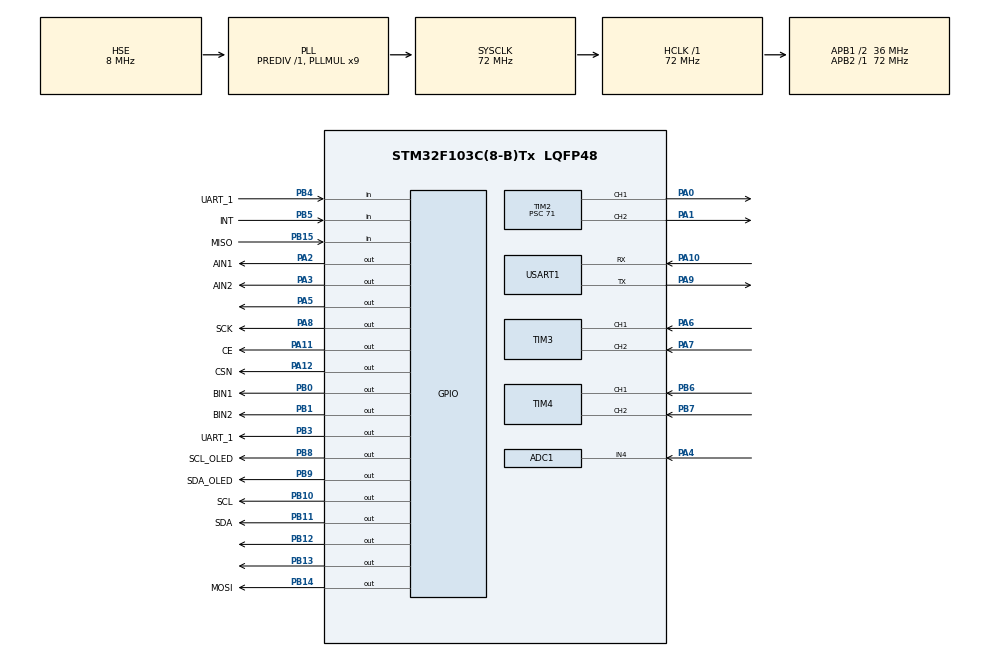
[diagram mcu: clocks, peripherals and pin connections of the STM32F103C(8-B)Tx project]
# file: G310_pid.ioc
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ADC1.Channel-0\#ChannelRegularConversion=ADC_CHANNEL_4
ADC1.NbrOfConversion=1
ADC1.NbrOfConversionFlag=1
ADC1.Rank-0\#ChannelRegularConversion=1
ADC1.SamplingTime-0\#ChannelRegularConversion=ADC_SAMPLETIME_28CYCLES_5
ADC1.master=1
Mcu.Family=STM32F1
Mcu.Name=STM32F103C(8-B)Tx
Mcu.Package=LQFP48
NVIC.PriorityGroup=NVIC_PRIORITYGROUP_4
NVIC.TIM1_UP_IRQn=true\:0\:0\:false\:false\:true\:true\:true\:true
NVIC.USART1_IRQn=true\:0\:0\:false\:false\:true\:true\:true\:true
PA0-WKUP.Signal=S_TIM2_CH1_ETR
PA1.Signal=S_TIM2_CH2
PA10.Mode=Asynchronous
PA10.Signal=USART1_RX
PA11.GPIO_Label=CE
PA11.GPIO_Speed=GPIO_SPEED_FREQ_HIGH
PA11.Signal=GPIO_Output
PA12.GPIO_Label=CSN
PA12.GPIO_Speed=GPIO_SPEED_FREQ_HIGH
PA12.Signal=GPIO_Output
PA13.Mode=Serial_Wire
PA13.Signal=SYS_JTMS-SWDIO
PA14.Mode=Serial_Wire
PA14.Signal=SYS_JTCK-SWCLK
PA2.GPIO_Label=AIN1
PA2.Signal=GPIO_Output
PA3.GPIO_Label=AIN2
PA3.Signal=GPIO_Output
PA4.Signal=ADCx_IN4
PA5.GPIO_Speed=GPIO_SPEED_FREQ_HIGH
PA5.Signal=GPIO_Output
PA6.GPIO_PuPd=GPIO_PULLUP
PA6.Signal=S_TIM3_CH1
PA7.GPIO_PuPd=GPIO_PULLUP
PA7.Signal=S_TIM3_CH2
PA8.GPIO_Label=SCK
PA8.GPIO_Speed=GPIO_SPEED_FREQ_HIGH
PA8.Signal=GPIO_Output
PA9.Mode=Asynchronous
PA9.Signal=USART1_TX
PB0.GPIO_Label=BIN1
PB0.Signal=GPIO_Output
PB1.GPIO_Label=BIN2
PB1.Signal=GPIO_Output
PB10.GPIO_Label=SCL
PB10.GPIO_PuPd=GPIO_PULLUP
PB10.GPIO_Speed=GPIO_SPEED_FREQ_HIGH
PB10.Signal=GPIO_Output
PB11.GPIO_Label=SDA
PB11.GPIO_ModeDefaultOutputPP=GPIO_MODE_OUTPUT_OD
PB11.GPIO_PuPd=GPIO_PULLUP
PB11.Signal=GPIO_Output
PB12.GPIO_Speed=GPIO_SPEED_FREQ_HIGH
PB12.Signal=GPIO_Output
PB13.GPIO_Speed=GPIO_SPEED_FREQ_HIGH
PB13.Signal=GPIO_Output
PB14.GPIO_Label=MOSI
PB14.GPIO_Speed=GPIO_SPEED_FREQ_HIGH
PB14.Signal=GPIO_Output
PB15.GPIO_Label=MISO
PB15.GPIO_PuPd=GPIO_PULLUP
PB15.Signal=GPIO_Input
PB3.GPIO_Label=UART_1
PB3.GPIO_PuPd=GPIO_PULLUP
PB3.GPIO_Speed=GPIO_SPEED_FREQ_HIGH
PB3.Signal=GPIO_Output
PB4.GPIO_Label=UART_1
PB4.GPIO_PuPd=GPIO_PULLUP
PB4.Signal=GPIO_Input
PB5.GPIO_Label=INT
PB5.Signal=GPIO_Input
PB6.GPIO_PuPd=GPIO_PULLUP
PB6.Signal=S_TIM4_CH1
PB7.GPIO_PuPd=GPIO_PULLUP
PB7.Signal=S_TIM4_CH2
PB8.GPIO_Label=SCL_OLED
PB8.GPIO_ModeDefaultOutputPP=GPIO_MODE_OUTPUT_OD
PB8.GPIO_PuPd=GPIO_NOPULL
PB8.GPIO_Speed=GPIO_SPEED_FREQ_HIGH
PB8.PinState=GPIO_PIN_SET
PB8.Signal=GPIO_Output
PB9.GPIO_Label=SDA_OLED
PB9.GPIO_ModeDefaultOutputPP=GPIO_MODE_OUTPUT_OD
PB9.GPIO_PuPd=GPIO_NOPULL
PB9.GPIO_Speed=GPIO_SPEED_FREQ_HIGH
PB9.PinState=GPIO_PIN_SET
PB9.Signal=GPIO_Output
PD0-OSC_IN.Mode=HSE-External-Oscillator
PD0-OSC_IN.Signal=RCC_OSC_IN
PD1-OSC_OUT.Mode=HSE-External-Oscillator
PD1-OSC_OUT.Signal=RCC_OSC_OUT
ProjectManager.HeapSize=0x200
ProjectManager.StackSize=0x400
ProjectManager.TargetToolchain=MDK-ARM V5.32
RCC.AHBFreq_Value=72000000
RCC.APB1CLKDivider=RCC_HCLK_DIV2
RCC.APB1Freq_Value=36000000
RCC.APB1TimFreq_Value=72000000
RCC.APB2Freq_Value=72000000
RCC.APB2TimFreq_Value=72000000
RCC.HCLKFreq_Value=72000000
RCC.PLLMUL=RCC_PLL_MUL9
RCC.PLLSourceVirtual=RCC_PLLSOURCE_HSE
RCC.SYSCLKFreq_VALUE=72000000
RCC.SYSCLKSource=RCC_SYSCLKSOURCE_PLLCLK
RCC.USBFreq_Value=72000000
SH.ADCx_IN4.0=ADC1_IN4,IN4
SH.S_TIM2_CH1_ETR.0=TIM2_CH1,PWM Generation1 CH1
SH.S_TIM2_CH2.0=TIM2_CH2,PWM Generation2 CH2
SH.S_TIM3_CH1.0=TIM3_CH1,Encoder_Interface
SH.S_TIM3_CH2.0=TIM3_CH2,Encoder_Interface
SH.S_TIM4_CH1.0=TIM4_CH1,Encoder_Interface
SH.S_TIM4_CH2.0=TIM4_CH2,Encoder_Interface
TIM1.Period=99
TIM1.Prescaler=7199
TIM2.Channel-PWM\ Generation1\ CH1=TIM_CHANNEL_1
TIM2.Channel-PWM\ Generation2\ CH2=TIM_CHANNEL_2
TIM2.Period=999
TIM2.Prescaler=71
TIM3.EncoderMode=TIM_ENCODERMODE_TI1
TIM3.IC1Filter=10
TIM4.EncoderMode=TIM_ENCODERMODE_TI1
TIM4.IC1Filter=10
USART1.VirtualMode=VM_ASYNC
VP_TIM1_VS_ClockSourceINT.Mode=Internal
board=custom

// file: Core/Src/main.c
/* USER CODE BEGIN Header */
/**
  ******************************************************************************
  * @file           : main.c
  * @brief          : Main program body
  ******************************************************************************
  * @attention
  *
  * Copyright (c) 2026 STMicroelectronics.
  * All rights reserved.
  *
  * This software is licensed under terms that can be found in the LICENSE file
  * in the root directory of this software component.
  * If no LICENSE file comes with this software, it is provided AS-IS.
  *
  ******************************************************************************
  */
/* USER CODE END Header */
#include "main.h"

/* USER CODE BEGIN Includes */
#include <stdio.h>
#include <stdlib.h>
#include "mpu6500.h"
#include "I2C.h"
#include "adc.h"
#include "OLED.h"
#include "NRF24L01.h"
/* USER CODE END Includes */

/* USER CODE BEGIN PM */
#define CROSS_STRAIGHT_TARGET_SPEED 20
#define CROSS_DETECT_ACTIVE_N       6U
#define CROSS_DETECT_CONFIRM_N      2U
#define CORNER_EXIT_CROSS_ACTIVE_N  4U
#define CORNER_EXIT_CROSS_CONFIRM_N 1U
#define CROSS_ARM_AFTER_CORNER_MM    100U
#define ROUTE_EXPECT_CORNER          0U
#define ROUTE_EXPECT_CROSS_FIRST     1U
#define ROUTE_EXPECT_CROSS_SECOND    2U
#define CROSS_EXIT_CONFIRM_N        3U
#define CROSS_MIN_TRAVEL_MM         30U
#define CROSS_MAX_TRAVEL_MM         120U
#define CROSS_MIN_TRAVEL_TICKS \
    ((CROSS_MIN_TRAVEL_MM * 530634U + 141372U / 2U) / 141372U)
#define CROSS_MAX_TRAVEL_TICKS \
    ((CROSS_MAX_TRAVEL_MM * 530634U + 141372U / 2U) / 141372U)
#define CROSS_ARM_AFTER_CORNER_TICKS \
    ((CROSS_ARM_AFTER_CORNER_MM * 530634U + 141372U / 2U) / 141372U)
#define CORNER_EXIT_ADVANCE_MM       400U
#define CORNER_EXIT_TARGET_SPEED     15
#define CORNER_WAIT_TIMEOUT_MS       8000U
#define CORNER_EXIT_ADVANCE_TICKS \
    ((CORNER_EXIT_ADVANCE_MM * 530634U + 141372U / 2U) / 141372U)
/* USER CODE END PM */

ADC_HandleTypeDef hadc1;

TIM_HandleTypeDef htim1;
TIM_HandleTypeDef htim2;
TIM_HandleTypeDef htim3;
TIM_HandleTypeDef htim4;

UART_HandleTypeDef huart1;

/* USER CODE BEGIN PV */
uint8_t LineFlag = 0;
int16_t debug_pos = 0;       // 用于显示的偏差值
volatile int16_t Target_speed[2] = {0}; // 用于显示的速度值
volatile int16_t last_speedL = 0;
volatile int16_t last_speedR = 0;
int16_t left_speed = 0;
int16_t right_speed = 0;

volatile float g_yaw = 0.0f;
volatile int16_t g_left = 0;
volatile int16_t g_right = 0;
volatile int16_t g_motor_cmd_left = 0;
volatile int16_t g_motor_cmd_right = 0;
volatile uint32_t g_path_ticks = 0U;
volatile uint8_t g_path_half_tick = 0U;
volatile uint8_t g_nrf_ready = 0;
volatile uint8_t g_nrf_tx_ok = 0;
volatile uint8_t g_turning = 0;
int16_t g_l_val = 0;
int16_t g_r_val = 0;
char buf[64];
volatile uint8_t line_detect_count = 0;
volatile float g_target_yaw = 0.0f;
volatile uint16_t lost_line_confirm = 0;
extern MPU6500_Data mpu_data;
typedef enum {
    STATE_TRACKING,   // 循迹
    STATE_STRAIGHT    // 直线
} RobotState;

RobotState state = STATE_STRAIGHT ;

/* 转弯状态机 */
volatile uint8_t  step = 1;
volatile uint8_t  corner_det = 0;
volatile uint16_t turn_ticks = 0;
volatile uint8_t  turn_lost_line = 0;
volatile uint32_t corner_lock = 0;
volatile uint8_t  corner_dir = 0;    // 0=左转 1=右转
volatile uint8_t  cross_active = 0U;
volatile uint8_t  special_route_phase = ROUTE_EXPECT_CORNER;
volatile uint8_t  cross_detect_count = 0U;
volatile uint8_t  cross_exit_count = 0U;
volatile uint32_t cross_start_path_ticks = 0U;
volatile uint32_t cross_last_exit_path_ticks = 0U;
volatile uint8_t  corner_id = 0U;
volatile uint32_t corner_exit_start_ticks = 0U;
volatile uint32_t corner_wait_start_ms = 0U;
volatile uint8_t  g_rear_ack_valid = 0U;
volatile uint8_t  g_rear_ack_corner_id = 0U;
volatile uint8_t  g_rear_ack_state = NRF24L01_REAR_STATE_NORMAL;
/* USER CODE END PV */

void SystemClock_Config(void);
static void MX_GPIO_Init(void);
static void MX_TIM2_Init(void);
static void MX_USART1_UART_Init(void);
static void MX_TIM3_Init(void);
static void MX_TIM4_Init(void);
static void MX_TIM1_Init(void);
static void MX_ADC1_Init(void);
/* USER CODE BEGIN PFP */
#include<motor.h>
#include"pid.h"
/* USER CODE END PFP */

/* USER CODE BEGIN 0 */

int16_t Get_Encoder_Speed(TIM_HandleTypeDef *htim) {
    int16_t count = (int16_t)__HAL_TIM_GET_COUNTER(htim);
    __HAL_TIM_SET_COUNTER(htim, 0); // 读取后清零，得到这 10ms 内的增量
    return count;
}

/* USER CODE END 0 */

int main(void)
{

  /* USER CODE BEGIN 1 */
	int16_t Target_Speed[2] = {0, 0};
  /* USER CODE END 1 */

  /* MCU Configuration--------------------------------------------------------*/

  /* Reset of all peripherals, Initializes the Flash interface and the Systick. */
  HAL_Init();

  /* Configure the system clock */
  SystemClock_Config();

  /* USER CODE BEGIN SysInit */
  ADC_Init();
  /* USER CODE END SysInit */

  /* Initialize all configured peripherals */
  MX_GPIO_Init();
  MX_TIM2_Init();
  MX_USART1_UART_Init();
  MX_TIM3_Init();
  MX_TIM4_Init();
  MX_TIM1_Init();
  MX_ADC1_Init();
  /* USER CODE BEGIN 2 */
	//--------------初始化----------------
	Motor_Init();
	PID_Init();
	MPU6500_Init();
	MPU6500_CalibrateGyro();
	g_nrf_ready = NRF24L01_Init();
	//初始化软串口 (PB3=TX, PB4=RX)
	//开启编码器读取（硬件计数）
	HAL_TIM_Encoder_Start(&htim3,TIM_CHANNEL_ALL);
  HAL_TIM_Encoder_Start(&htim4,TIM_CHANNEL_ALL);
	//开启控制定时器（关键：触发10ms中断）
	HAL_TIM_Base_Start_IT(&htim1);
        //初始化 OLED
        OLED_Init();
        OLED_Clear();
        OLED_ShowString(1, 1, "Tracking...");
  /* USER CODE END 2 */

  /* Infinite loop */
  /* USER CODE BEGIN WHILE */
	/* 在 main 函数的初始化部分 */
	Yaw_Reset();  // 当前方向设为0
	g_target_yaw = 0.0f;
	AnglePID_Enable();
	corner_lock = HAL_GetTick() + 500;  // 上电3秒内不检测直角
//
//	//--- 发送数据 ---
  while (1)
  {
    /* USER CODE END WHILE */

    /* USER CODE BEGIN 3 */
    // OLED 显示 8 路 + 总和（调试用）
    {
        char t[18];
        uint32_t distance_mm = (uint32_t)((((uint64_t)g_path_ticks * 141372U) +
                                           265317U) / 530634U);
        int32_t yaw_x10 = (int32_t)(Yaw_GetAngle() * 10.0f);
        uint32_t yaw_abs_x10 = (yaw_x10 < 0) ?
                               (uint32_t)(-yaw_x10) : (uint32_t)yaw_x10;
        sprintf(t, "L%4d%4d%4d%4d", adc_values[0], adc_values[1], adc_values[2], adc_values[3]);
        OLED_ShowString(3, 1, t);
        OLED_ShowString(4, 1, "                ");
        OLED_ShowString(4, 1, "D");
        OLED_ShowNum(4, 2, (distance_mm + 5U) / 10U, 4);
        OLED_ShowString(4, 6, "Y");
        OLED_ShowString(4, 7, (yaw_x10 < 0) ? "-" : "+");
        OLED_ShowNum(4, 8, yaw_abs_x10 / 10U, 3);
        OLED_ShowString(4, 11, ".");
        OLED_ShowNum(4, 12, yaw_abs_x10 % 10U, 1);
    }
    {
        static uint32_t last_nrf_retry = 0U;
        static uint32_t last_nrf_send = 0U;
        uint32_t now = HAL_GetTick();
        int16_t left = g_motor_cmd_left;
        int16_t right = g_motor_cmd_right;
        int16_t speed = (int16_t)(((int32_t)left + right) / 2);
        int16_t turn = (int16_t)(((int32_t)right - left) / 2);
        int16_t yaw_x10 = (int16_t)(Yaw_GetAngle() * 10.0f);
        uint8_t flags = 0U;
        char radio_text[18];

        if (step == 2U) flags = FRONT_CAR_FLAG_CORNER_APPROACH;
        else if (step == 3U) flags = FRONT_CAR_FLAG_RIGHT_ANGLE;
        else if (step == 4U) flags = FRONT_CAR_FLAG_CORNER_EXIT;
        else if (step == 5U) flags = FRONT_CAR_FLAG_WAIT_REAR;
        if ((step >= 2U) && (step <= 5U))
        {
            flags |= (uint8_t)((corner_id << FRONT_CAR_CORNER_ID_SHIFT) &
                               FRONT_CAR_CORNER_ID_MASK);
        }

        sprintf(radio_text, "V:%4d T:%4d", speed, turn);
        OLED_ShowString(1, 1, radio_text);

        if (g_nrf_ready)
        {
            if ((uint32_t)(now - last_nrf_send) >= 20U)
            {
                last_nrf_send = now;
                NRF24L01_RearAck rear_ack;
                g_nrf_tx_ok = (NRF24L01_SendCarData(speed, turn, yaw_x10,
                                                    g_path_ticks, flags) ==
                                   NRF24L01_TX_OK);
                if ((g_nrf_tx_ok != 0U) &&
                    (NRF24L01_GetRearAck(&rear_ack, 300U) != 0U))
                {
                    g_rear_ack_valid = 1U;
                    g_rear_ack_corner_id = rear_ack.corner_id;
                    g_rear_ack_state = rear_ack.rear_state;
                }
            }
            OLED_ShowString(2, 1, g_nrf_tx_ok ? "RF:OK Q:   " : "RF:ERR Q:  ");
            OLED_ShowNum(2, 9, NRF24L01_LastSequence(), 3);
        }
        else
        {
            if ((uint32_t)(now - last_nrf_retry) >= 500U)
            {
                last_nrf_retry = now;
                g_nrf_ready = NRF24L01_Init();
            }

            OLED_ShowString(2, 1, "RF:E C:  S:  ");
            OLED_ShowHexNum(2, 8, NRF24L01_ReadRegister(0x05U), 2);
            OLED_ShowHexNum(2, 13, NRF24L01_ReadRegister(0x07U), 2);
        }
    }
    // 转弯完成检测
    if (step == 3)
    {
        if (!line_detected && turn_ticks > 10)
            turn_lost_line = 1;
        if (turn_lost_line && line_detected && turn_ticks > 15)
        {
            line_detect_count++;
            if (line_detect_count > 2)
            {
                line_detect_count = 0;
                AnglePID_Disable();
                Tracking_Reset();
                corner_lock = HAL_GetTick() + CORNER_LOCK_MS;
                PID_SpeedL.integral = 0; PID_SpeedR.integral = 0;
                OLED_Clear();
                corner_exit_start_ticks = g_path_ticks;
                special_route_phase = ROUTE_EXPECT_CROSS_FIRST;
                OLED_ShowString(1, 1, "Corner exit");
                step = 4;
            }
        }
        else line_detect_count = 0;
    }
    HAL_Delay(20);
  /* USER CODE END 3 */
}
}

void SystemClock_Config(void)
{
  RCC_OscInitTypeDef RCC_OscInitStruct = {0};
  RCC_ClkInitTypeDef RCC_ClkInitStruct = {0};
  RCC_PeriphCLKInitTypeDef PeriphClkInit = {0};

  /** Initializes the RCC Oscillators according to the specified parameters
  * in the RCC_OscInitTypeDef structure.
  */
  RCC_OscInitStruct.OscillatorType = RCC_OSCILLATORTYPE_HSE;
  RCC_OscInitStruct.HSEState = RCC_HSE_ON;
  RCC_OscInitStruct.HSEPredivValue = RCC_HSE_PREDIV_DIV1;
  RCC_OscInitStruct.HSIState = RCC_HSI_ON;
  RCC_OscInitStruct.PLL.PLLState = RCC_PLL_ON;
  RCC_OscInitStruct.PLL.PLLSource = RCC_PLLSOURCE_HSE;
  RCC_OscInitStruct.PLL.PLLMUL = RCC_PLL_MUL9;
  if (HAL_RCC_OscConfig(&RCC_OscInitStruct) != HAL_OK)
  {
    Error_Handler();
  }

  /** Initializes the CPU, AHB and APB buses clocks
  */
  RCC_ClkInitStruct.ClockType = RCC_CLOCKTYPE_HCLK|RCC_CLOCKTYPE_SYSCLK
                              |RCC_CLOCKTYPE_PCLK1|RCC_CLOCKTYPE_PCLK2;
  RCC_ClkInitStruct.SYSCLKSource = RCC_SYSCLKSOURCE_PLLCLK;
  RCC_ClkInitStruct.AHBCLKDivider = RCC_SYSCLK_DIV1;
  RCC_ClkInitStruct.APB1CLKDivider = RCC_HCLK_DIV2;
  RCC_ClkInitStruct.APB2CLKDivider = RCC_HCLK_DIV1;

  if (HAL_RCC_ClockConfig(&RCC_ClkInitStruct, FLASH_LATENCY_2) != HAL_OK)
  {
    Error_Handler();
  }
  PeriphClkInit.PeriphClockSelection = RCC_PERIPHCLK_ADC;
  PeriphClkInit.AdcClockSelection = RCC_ADCPCLK2_DIV2;
  if (HAL_RCCEx_PeriphCLKConfig(&PeriphClkInit) != HAL_OK)
  {
    Error_Handler();
  }

}
static void MX_ADC1_Init(void)
{

  ADC_ChannelConfTypeDef sConfig = {0};

  /** Common config
  */
  hadc1.Instance = ADC1;
  hadc1.Init.ScanConvMode = ADC_SCAN_DISABLE;
  hadc1.Init.ContinuousConvMode = DISABLE;
  hadc1.Init.DiscontinuousConvMode = DISABLE;
  hadc1.Init.ExternalTrigConv = ADC_SOFTWARE_START;
  hadc1.Init.DataAlign = ADC_DATAALIGN_RIGHT;
  hadc1.Init.NbrOfConversion = 1;
  if (HAL_ADC_Init(&hadc1) != HAL_OK)
  {
    Error_Handler();
  }

  /** Configure Regular Channel
  */
  sConfig.Channel = ADC_CHANNEL_4;
  sConfig.Rank = ADC_REGULAR_RANK_1;
  sConfig.SamplingTime = ADC_SAMPLETIME_28CYCLES_5;
  if (HAL_ADC_ConfigChannel(&hadc1, &sConfig) != HAL_OK)
  {
    Error_Handler();
  }

}

static void MX_TIM1_Init(void)
{

  TIM_ClockConfigTypeDef sClockSourceConfig = {0};
  TIM_MasterConfigTypeDef sMasterConfig = {0};

  htim1.Instance = TIM1;
  htim1.Init.Prescaler = 7199;
  htim1.Init.CounterMode = TIM_COUNTERMODE_UP;
  htim1.Init.Period = 99;
  htim1.Init.ClockDivision = TIM_CLOCKDIVISION_DIV1;
  htim1.Init.RepetitionCounter = 0;
  htim1.Init.AutoReloadPreload = TIM_AUTORELOAD_PRELOAD_DISABLE;
  if (HAL_TIM_Base_Init(&htim1) != HAL_OK)
  {
    Error_Handler();
  }
  sClockSourceConfig.ClockSource = TIM_CLOCKSOURCE_INTERNAL;
  if (HAL_TIM_ConfigClockSource(&htim1, &sClockSourceConfig) != HAL_OK)
  {
    Error_Handler();
  }
  sMasterConfig.MasterOutputTrigger = TIM_TRGO_RESET;
  sMasterConfig.MasterSlaveMode = TIM_MASTERSLAVEMODE_DISABLE;
  if (HAL_TIMEx_MasterConfigSynchronization(&htim1, &sMasterConfig) != HAL_OK)
  {
    Error_Handler();
  }

}

static void MX_TIM2_Init(void)
{

  TIM_MasterConfigTypeDef sMasterConfig = {0};
  TIM_OC_InitTypeDef sConfigOC = {0};

  htim2.Instance = TIM2;
  htim2.Init.Prescaler = 71;
  htim2.Init.CounterMode = TIM_COUNTERMODE_UP;
  htim2.Init.Period = 999;
  htim2.Init.ClockDivision = TIM_CLOCKDIVISION_DIV1;
  htim2.Init.AutoReloadPreload = TIM_AUTORELOAD_PRELOAD_DISABLE;
  if (HAL_TIM_PWM_Init(&htim2) != HAL_OK)
  {
    Error_Handler();
  }
  sMasterConfig.MasterOutputTrigger = TIM_TRGO_RESET;
  sMasterConfig.MasterSlaveMode = TIM_MASTERSLAVEMODE_DISABLE;
  if (HAL_TIMEx_MasterConfigSynchronization(&htim2, &sMasterConfig) != HAL_OK)
  {
    Error_Handler();
  }
  sConfigOC.OCMode = TIM_OCMODE_PWM1;
  sConfigOC.Pulse = 0;
  sConfigOC.OCPolarity = TIM_OCPOLARITY_HIGH;
  sConfigOC.OCFastMode = TIM_OCFAST_DISABLE;
  if (HAL_TIM_PWM_ConfigChannel(&htim2, &sConfigOC, TIM_CHANNEL_1) != HAL_OK)
  {
    Error_Handler();
  }
  if (HAL_TIM_PWM_ConfigChannel(&htim2, &sConfigOC, TIM_CHANNEL_2) != HAL_OK)
  {
    Error_Handler();
  }
  HAL_TIM_MspPostInit(&htim2);

}

static void MX_TIM3_Init(void)
{

  TIM_Encoder_InitTypeDef sConfig = {0};
  TIM_MasterConfigTypeDef sMasterConfig = {0};

  htim3.Instance = TIM3;
  htim3.Init.Prescaler = 0;
  htim3.Init.CounterMode = TIM_COUNTERMODE_UP;
  htim3.Init.Period = 65535;
  htim3.Init.ClockDivision = TIM_CLOCKDIVISION_DIV1;
  htim3.Init.AutoReloadPreload = TIM_AUTORELOAD_PRELOAD_DISABLE;
  sConfig.EncoderMode = TIM_ENCODERMODE_TI1;
  sConfig.IC1Polarity = TIM_ICPOLARITY_RISING;
  sConfig.IC1Selection = TIM_ICSELECTION_DIRECTTI;
  sConfig.IC1Prescaler = TIM_ICPSC_DIV1;
  sConfig.IC1Filter = 10;
  sConfig.IC2Polarity = TIM_ICPOLARITY_RISING;
  sConfig.IC2Selection = TIM_ICSELECTION_DIRECTTI;
  sConfig.IC2Prescaler = TIM_ICPSC_DIV1;
  sConfig.IC2Filter = 0;
  if (HAL_TIM_Encoder_Init(&htim3, &sConfig) != HAL_OK)
  {
    Error_Handler();
  }
  sMasterConfig.MasterOutputTrigger = TIM_TRGO_RESET;
  sMasterConfig.MasterSlaveMode = TIM_MASTERSLAVEMODE_DISABLE;
  if (HAL_TIMEx_MasterConfigSynchronization(&htim3, &sMasterConfig) != HAL_OK)
  {
    Error_Handler();
  }

}

static void MX_TIM4_Init(void)
{

  TIM_Encoder_InitTypeDef sConfig = {0};
  TIM_MasterConfigTypeDef sMasterConfig = {0};

  htim4.Instance = TIM4;
  htim4.Init.Prescaler = 0;
  htim4.Init.CounterMode = TIM_COUNTERMODE_UP;
  htim4.Init.Period = 65535;
  htim4.Init.ClockDivision = TIM_CLOCKDIVISION_DIV1;
  htim4.Init.AutoReloadPreload = TIM_AUTORELOAD_PRELOAD_DISABLE;
  sConfig.EncoderMode = TIM_ENCODERMODE_TI1;
  sConfig.IC1Polarity = TIM_ICPOLARITY_RISING;
  sConfig.IC1Selection = TIM_ICSELECTION_DIRECTTI;
  sConfig.IC1Prescaler = TIM_ICPSC_DIV1;
  sConfig.IC1Filter = 10;
  sConfig.IC2Polarity = TIM_ICPOLARITY_RISING;
  sConfig.IC2Selection = TIM_ICSELECTION_DIRECTTI;
  sConfig.IC2Prescaler = TIM_ICPSC_DIV1;
  sConfig.IC2Filter = 0;
  if (HAL_TIM_Encoder_Init(&htim4, &sConfig) != HAL_OK)
  {
    Error_Handler();
  }
  sMasterConfig.MasterOutputTrigger = TIM_TRGO_RESET;
  sMasterConfig.MasterSlaveMode = TIM_MASTERSLAVEMODE_DISABLE;
  if (HAL_TIMEx_MasterConfigSynchronization(&htim4, &sMasterConfig) != HAL_OK)
  {
    Error_Handler();
  }

}

static void MX_USART1_UART_Init(void)
{

  huart1.Instance = USART1;
  huart1.Init.BaudRate = 115200;
  huart1.Init.WordLength = UART_WORDLENGTH_8B;
  huart1.Init.StopBits = UART_STOPBITS_1;
  huart1.Init.Parity = UART_PARITY_NONE;
  huart1.Init.Mode = UART_MODE_TX_RX;
  huart1.Init.HwFlowCtl = UART_HWCONTROL_NONE;
  huart1.Init.OverSampling = UART_OVERSAMPLING_16;
  if (HAL_UART_Init(&huart1) != HAL_OK)
  {
    Error_Handler();
  }

}

static void MX_GPIO_Init(void)
{
  GPIO_InitTypeDef GPIO_InitStruct = {0};

  /* GPIO Ports Clock Enable */
  __HAL_RCC_GPIOD_CLK_ENABLE();
  __HAL_RCC_GPIOA_CLK_ENABLE();
  __HAL_RCC_GPIOB_CLK_ENABLE();

  /*Configure GPIO pin Output Level */
  HAL_GPIO_WritePin(GPIOA, AIN1_Pin|AIN2_Pin|GPIO_PIN_5|SCK_Pin
                          |CE_Pin, GPIO_PIN_RESET);
  HAL_GPIO_WritePin(CSN_GPIO_Port, CSN_Pin, GPIO_PIN_SET);

  /*Configure GPIO pin Output Level */
  HAL_GPIO_WritePin(GPIOB, BIN1_Pin|BIN2_Pin|SCL_Pin|SDA_Pin
                          |GPIO_PIN_12|GPIO_PIN_13|MOSI_Pin|UART_1_Pin, GPIO_PIN_RESET);

  /*Configure GPIO pin Output Level */
  HAL_GPIO_WritePin(GPIOB, SCL_OLED_Pin|SDA_OLED_Pin, GPIO_PIN_SET);

  /*Configure GPIO pins : AIN1_Pin AIN2_Pin */
  GPIO_InitStruct.Pin = AIN1_Pin|AIN2_Pin;
  GPIO_InitStruct.Mode = GPIO_MODE_OUTPUT_PP;
  GPIO_InitStruct.Pull = GPIO_NOPULL;
  GPIO_InitStruct.Speed = GPIO_SPEED_FREQ_LOW;
  HAL_GPIO_Init(GPIOA, &GPIO_InitStruct);

  /*Configure GPIO pins : PA5 SCK_Pin CE_Pin CSN_Pin */
  GPIO_InitStruct.Pin = GPIO_PIN_5|SCK_Pin|CE_Pin|CSN_Pin;
  GPIO_InitStruct.Mode = GPIO_MODE_OUTPUT_PP;
  GPIO_InitStruct.Pull = GPIO_NOPULL;
  GPIO_InitStruct.Speed = GPIO_SPEED_FREQ_HIGH;
  HAL_GPIO_Init(GPIOA, &GPIO_InitStruct);

  /*Configure GPIO pins : BIN1_Pin BIN2_Pin */
  GPIO_InitStruct.Pin = BIN1_Pin|BIN2_Pin;
  GPIO_InitStruct.Mode = GPIO_MODE_OUTPUT_PP;
  GPIO_InitStruct.Pull = GPIO_NOPULL;
  GPIO_InitStruct.Speed = GPIO_SPEED_FREQ_LOW;
  HAL_GPIO_Init(GPIOB, &GPIO_InitStruct);

  /*Configure GPIO pins : SCL_Pin UART_1_Pin */
  GPIO_InitStruct.Pin = SCL_Pin|UART_1_Pin;
  GPIO_InitStruct.Mode = GPIO_MODE_OUTPUT_PP;
  GPIO_InitStruct.Pull = GPIO_PULLUP;
  GPIO_InitStruct.Speed = GPIO_SPEED_FREQ_HIGH;
  HAL_GPIO_Init(GPIOB, &GPIO_InitStruct);

  /*Configure GPIO pin : SDA_Pin */
  GPIO_InitStruct.Pin = SDA_Pin;
  GPIO_InitStruct.Mode = GPIO_MODE_OUTPUT_OD;
  GPIO_InitStruct.Pull = GPIO_PULLUP;
  GPIO_InitStruct.Speed = GPIO_SPEED_FREQ_LOW;
  HAL_GPIO_Init(SDA_GPIO_Port, &GPIO_InitStruct);

  /*Configure GPIO pins : PB12 PB13 MOSI_Pin(PB14) */
  GPIO_InitStruct.Pin = GPIO_PIN_12|GPIO_PIN_13|MOSI_Pin;
  GPIO_InitStruct.Mode = GPIO_MODE_OUTPUT_PP;
  GPIO_InitStruct.Pull = GPIO_NOPULL;
  GPIO_InitStruct.Speed = GPIO_SPEED_FREQ_HIGH;
  HAL_GPIO_Init(GPIOB, &GPIO_InitStruct);

  /*Configure GPIO pins : MISO_Pin(PB15) UART_1B4_Pin */
  GPIO_InitStruct.Pin = MISO_Pin|UART_1B4_Pin;
  GPIO_InitStruct.Mode = GPIO_MODE_INPUT;
  GPIO_InitStruct.Pull = GPIO_PULLUP;
  HAL_GPIO_Init(GPIOB, &GPIO_InitStruct);

  /*Configure GPIO pin : INT_Pin */
  GPIO_InitStruct.Pin = INT_Pin;
  GPIO_InitStruct.Mode = GPIO_MODE_INPUT;
  GPIO_InitStruct.Pull = GPIO_NOPULL;
  HAL_GPIO_Init(INT_GPIO_Port, &GPIO_InitStruct);

  /*Configure GPIO pins : SCL_OLED_Pin SDA_OLED_Pin */
  GPIO_InitStruct.Pin = SCL_OLED_Pin|SDA_OLED_Pin;
  GPIO_InitStruct.Mode = GPIO_MODE_OUTPUT_OD;
  GPIO_InitStruct.Pull = GPIO_NOPULL;
  GPIO_InitStruct.Speed = GPIO_SPEED_FREQ_HIGH;
  HAL_GPIO_Init(GPIOB, &GPIO_InitStruct);

}

/* USER CODE BEGIN 4 */
void HAL_TIM_PeriodElapsedCallback(TIM_HandleTypeDef *htim)
{
    if (htim->Instance == TIM1)
    {
        ADC_ReadAll();
        last_speedL = Get_Encoder_Speed(&htim3);
        last_speedR = Get_Encoder_Speed(&htim4);
        last_speedR = (int16_t)(-(int32_t)last_speedR);
        {
            uint16_t left_ticks = (last_speedL < 0) ?
                                  (uint16_t)(-(int32_t)last_speedL) :
                                  (uint16_t)last_speedL;
            uint16_t right_ticks = (last_speedR < 0) ?
                                   (uint16_t)(-(int32_t)last_speedR) :
                                   (uint16_t)last_speedR;
            uint32_t tick_sum = (uint32_t)left_ticks + right_ticks +
                                g_path_half_tick;
            if (step != 3U)
            {
                g_path_ticks += tick_sum / 2U;
                g_path_half_tick = (uint8_t)(tick_sum & 1U);
            }
            else
            {
                g_path_half_tick = 0U;
            }
        }
        Yaw_Update();

        if (step == 1)
        {
            uint8_t left_active = 0U;
            uint8_t right_active = 0U;
            uint8_t total_active;
            uint8_t cross_pattern;

            left_active += (SENSOR_L4 != GPIO_PIN_RESET) ? 1U : 0U;
            left_active += (SENSOR_L3 != GPIO_PIN_RESET) ? 1U : 0U;
            left_active += (SENSOR_L2 != GPIO_PIN_RESET) ? 1U : 0U;
            left_active += (SENSOR_L1 != GPIO_PIN_RESET) ? 1U : 0U;
            right_active += (SENSOR_R1 != GPIO_PIN_RESET) ? 1U : 0U;
            right_active += (SENSOR_R2 != GPIO_PIN_RESET) ? 1U : 0U;
            right_active += (SENSOR_R3 != GPIO_PIN_RESET) ? 1U : 0U;
            right_active += (SENSOR_R4 != GPIO_PIN_RESET) ? 1U : 0U;
            total_active = (uint8_t)(left_active + right_active);
            cross_pattern =
                ((special_route_phase != ROUTE_EXPECT_CORNER) &&
                 (((special_route_phase == ROUTE_EXPECT_CROSS_FIRST) &&
                   ((g_path_ticks - corner_exit_start_ticks) >=
                    CROSS_ARM_AFTER_CORNER_TICKS)) ||
                  ((special_route_phase == ROUTE_EXPECT_CROSS_SECOND) &&
                   ((g_path_ticks - cross_last_exit_path_ticks) >=
                    CROSS_ARM_AFTER_CORNER_TICKS))) &&
                 (total_active >= CORNER_EXIT_CROSS_ACTIVE_N) &&
                 (left_active >= 1U) &&
                 (right_active >= 1U)) ? 1U : 0U;

            if (cross_active == 0U)
            {
                if (cross_pattern != 0U)
                {
                    if (cross_detect_count < CORNER_EXIT_CROSS_CONFIRM_N)
                    {
                        cross_detect_count++;
                    }
                }
                else
                {
                    cross_detect_count = 0U;
                }

                if (cross_detect_count >= CORNER_EXIT_CROSS_CONFIRM_N)
                {
                    cross_active = 1U;
                    cross_detect_count = 0U;
                    cross_exit_count = 0U;
                    cross_start_path_ticks = g_path_ticks;
                    corner_det = 0U;
                    Tracking_Reset();
                }
            }

            if (cross_active != 0U)
            {
                uint32_t cross_travel_ticks = g_path_ticks -
                                              cross_start_path_ticks;

                Target_speed[0] = CROSS_STRAIGHT_TARGET_SPEED;
                Target_speed[1] = CROSS_STRAIGHT_TARGET_SPEED;
                debug_pos = 0;
                corner_det = 0U;

                if (cross_travel_ticks >= CROSS_MIN_TRAVEL_TICKS)
                {
                    if ((center_on_line) &&
                        (total_active > 0U) && (total_active <= 4U))
                    {
                        if (cross_exit_count < CROSS_EXIT_CONFIRM_N)
                        {
                            cross_exit_count++;
                        }
                    }
                    else
                    {
                        cross_exit_count = 0U;
                    }
                }

                if ((cross_exit_count >= CROSS_EXIT_CONFIRM_N) ||
                    (cross_travel_ticks >= CROSS_MAX_TRAVEL_TICKS))
                {
                    cross_active = 0U;
                    cross_last_exit_path_ticks = g_path_ticks;
                    special_route_phase =
                        (special_route_phase == ROUTE_EXPECT_CROSS_FIRST) ?
                        ROUTE_EXPECT_CROSS_SECOND : ROUTE_EXPECT_CORNER;
                    cross_exit_count = 0U;
                    corner_lock = HAL_GetTick() + CORNER_LOCK_MS;
                    Tracking_Reset();
                }
            }
            else
            {
                // 固定顺序：直角弯、十字第一次、十字第二次，然后循环。
                if (((int32_t)(HAL_GetTick() - corner_lock) >= 0) &&
                    ((special_route_phase == ROUTE_EXPECT_CORNER) ||
                     ((special_route_phase == ROUTE_EXPECT_CROSS_FIRST) &&
                      ((g_path_ticks - corner_exit_start_ticks) >=
                       CROSS_ARM_AFTER_CORNER_TICKS)) ||
                     ((special_route_phase == ROUTE_EXPECT_CROSS_SECOND) &&
                      ((g_path_ticks - cross_last_exit_path_ticks) >=
                       CROSS_ARM_AFTER_CORNER_TICKS))))
                {
                    uint16_t sum = 0, sumL = 0, sumR = 0;
                    for (uint8_t i = 0; i < 4; i++) { sumL += adc_values[i]; sumR += adc_values[i+4]; }
                    sum = sumL + sumR;
                    if (sum < CORNER_SUM_THRESH)
                    {
                        int16_t diff = (int16_t)(sumL - sumR);
                        if      (diff < -200) { corner_dir = 0; corner_det++; }
                        else if (diff >  200) { corner_dir = 1; corner_det++; }
                        else                  { corner_det = 0; }
                    }
                    else { corner_det = 0; }
                    if (corner_det > 1)
                    {
                        corner_det = 0;
                        if (special_route_phase != ROUTE_EXPECT_CORNER)
                        {
                            cross_active = 1U;
                            cross_detect_count = 0U;
                            cross_exit_count = 0U;
                            cross_start_path_ticks = g_path_ticks;
                            Tracking_Reset();
                        }
                        else
                        {
                            turn_ticks = 0;
                            corner_id = (corner_id >= 15U) ? 1U :
                                        (uint8_t)(corner_id + 1U);
                            g_rear_ack_valid = 0U;
                            OLED_Clear();
                            OLED_ShowString(1, 1, corner_dir ? "TURN RIGHT" : "TURN LEFT");
                            step = 2;
                        }
                    }
                }
                if (cross_active != 0U)
                {
                    Target_speed[0] = CROSS_STRAIGHT_TARGET_SPEED;
                    Target_speed[1] = CROSS_STRAIGHT_TARGET_SPEED;
                    debug_pos = 0;
                }
                else
                {
                    debug_pos = (int16_t)Tracking_Task((int16_t *)Target_speed);
                }
            }
            int16_t out_L = PID_Caculate(&PID_SpeedL, (float)Target_speed[0] - last_speedL);
            int16_t out_R = PID_Caculate(&PID_SpeedR, (float)Target_speed[1] - last_speedR);
            g_motor_cmd_left = out_L;
            g_motor_cmd_right = out_R;
            Motor_SetPWM(out_L, out_R);
        }
        else if (step == 2)
        {
            g_motor_cmd_left = 160;
            g_motor_cmd_right = 160;
            Motor_SetPWM(160, 160);
            turn_ticks++;
            if (turn_ticks >= 25)
            {
                AnglePID_Enable();
                g_target_yaw = Yaw_GetAngle() + (corner_dir ? -90.0f : 90.0f);
                if (g_target_yaw >  180.0f) g_target_yaw -= 360.0f;
                if (g_target_yaw < -180.0f) g_target_yaw += 360.0f;
                PID_SpeedL.integral = 0; PID_SpeedR.integral = 0;
                PID_SpeedL.last_error = 0; PID_SpeedR.last_error = 0;
                line_detect_count = 0;
                turn_ticks = 0;
                turn_lost_line = 0;
                step = 3;
            }
        }
        else if (step == 3)
        {
            if (turn_ticks < 255) turn_ticks++;
            int16_t L, R;
            AnglePID_Process(0, g_target_yaw, &L, &R);
            if (L >  TURN_MAX_PWM) L =  TURN_MAX_PWM;
            if (L < -TURN_MAX_PWM) L = -TURN_MAX_PWM;
            if (R >  TURN_MAX_PWM) R =  TURN_MAX_PWM;
            if (R < -TURN_MAX_PWM) R = -TURN_MAX_PWM;
            if (L > 0 && L < TURN_MIN_PWM) L = TURN_MIN_PWM;
            if (L < 0 && L > -TURN_MIN_PWM) L = -TURN_MIN_PWM;
            if (R > 0 && R < TURN_MIN_PWM) R = TURN_MIN_PWM;
            if (R < 0 && R > -TURN_MIN_PWM) R = -TURN_MIN_PWM;
            Target_speed[0] = L; Target_speed[1] = R;
            g_motor_cmd_left = L;
            g_motor_cmd_right = R;
            Motor_SetPWM(L, R);
        }
        else if (step == 4)
        {
            int16_t average_speed;
            int16_t speed_reduction;
            int16_t out_L;
            int16_t out_R;
            uint8_t left_active = 0U;
            uint8_t right_active = 0U;
            uint8_t total_active;
            uint8_t cross_pattern;

            left_active += (SENSOR_L4 != GPIO_PIN_RESET) ? 1U : 0U;
            left_active += (SENSOR_L3 != GPIO_PIN_RESET) ? 1U : 0U;
            left_active += (SENSOR_L2 != GPIO_PIN_RESET) ? 1U : 0U;
            left_active += (SENSOR_L1 != GPIO_PIN_RESET) ? 1U : 0U;
            right_active += (SENSOR_R1 != GPIO_PIN_RESET) ? 1U : 0U;
            right_active += (SENSOR_R2 != GPIO_PIN_RESET) ? 1U : 0U;
            right_active += (SENSOR_R3 != GPIO_PIN_RESET) ? 1U : 0U;
            right_active += (SENSOR_R4 != GPIO_PIN_RESET) ? 1U : 0U;
            total_active = (uint8_t)(left_active + right_active);
            cross_pattern = ((special_route_phase != ROUTE_EXPECT_CORNER) &&
                             (((special_route_phase == ROUTE_EXPECT_CROSS_FIRST) &&
                               ((g_path_ticks - corner_exit_start_ticks) >=
                                CROSS_ARM_AFTER_CORNER_TICKS)) ||
                              ((special_route_phase == ROUTE_EXPECT_CROSS_SECOND) &&
                               ((g_path_ticks - cross_last_exit_path_ticks) >=
                                CROSS_ARM_AFTER_CORNER_TICKS))) &&
                             (total_active >= CORNER_EXIT_CROSS_ACTIVE_N) &&
                             (left_active >= 1U) &&
                             (right_active >= 1U)) ? 1U : 0U;

            if (cross_active == 0U)
            {
                if (cross_pattern != 0U)
                {
                    if (cross_detect_count < CORNER_EXIT_CROSS_CONFIRM_N)
                    {
                        cross_detect_count++;
                    }
                }
                else
                {
                    cross_detect_count = 0U;
                }

                if (cross_detect_count >= CORNER_EXIT_CROSS_CONFIRM_N)
                {
                    cross_active = 1U;
                    cross_detect_count = 0U;
                    cross_exit_count = 0U;
                    cross_start_path_ticks = g_path_ticks;
                    Tracking_Reset();
                }
            }

            if (cross_active != 0U)
            {
                uint32_t cross_travel_ticks = g_path_ticks -
                                              cross_start_path_ticks;

                Target_speed[0] = CROSS_STRAIGHT_TARGET_SPEED;
                Target_speed[1] = CROSS_STRAIGHT_TARGET_SPEED;
                debug_pos = 0;

                if (cross_travel_ticks >= CROSS_MIN_TRAVEL_TICKS)
                {
                    if ((center_on_line) &&
                        (total_active > 0U) && (total_active <= 4U))
                    {
                        if (cross_exit_count < CROSS_EXIT_CONFIRM_N)
                        {
                            cross_exit_count++;
                        }
                    }
                    else
                    {
                        cross_exit_count = 0U;
                    }
                }

                if ((cross_exit_count >= CROSS_EXIT_CONFIRM_N) ||
                    (cross_travel_ticks >= CROSS_MAX_TRAVEL_TICKS))
                {
                    cross_active = 0U;
                    cross_last_exit_path_ticks = g_path_ticks;
                    special_route_phase =
                        (special_route_phase == ROUTE_EXPECT_CROSS_FIRST) ?
                        ROUTE_EXPECT_CROSS_SECOND : ROUTE_EXPECT_CORNER;
                    cross_exit_count = 0U;
                    corner_lock = HAL_GetTick() + CORNER_LOCK_MS;
                    Tracking_Reset();
                }
            }
            else
            {
                debug_pos = (int16_t)Tracking_Task((int16_t *)Target_speed);
                average_speed = (int16_t)(((int32_t)Target_speed[0] +
                                           Target_speed[1]) / 2);
                if (average_speed > CORNER_EXIT_TARGET_SPEED)
                {
                    speed_reduction = (int16_t)(average_speed -
                                                 CORNER_EXIT_TARGET_SPEED);
                    Target_speed[0] = (int16_t)(Target_speed[0] - speed_reduction);
                    Target_speed[1] = (int16_t)(Target_speed[1] - speed_reduction);
                }
            }
            out_L = PID_Caculate(&PID_SpeedL,
                                  (float)Target_speed[0] - last_speedL);
            out_R = PID_Caculate(&PID_SpeedR,
                                  (float)Target_speed[1] - last_speedR);
            g_motor_cmd_left = out_L;
            g_motor_cmd_right = out_R;
            Motor_SetPWM(out_L, out_R);

            if ((cross_active == 0U) && (cross_detect_count == 0U) &&
                ((g_path_ticks - corner_exit_start_ticks) >=
                 CORNER_EXIT_ADVANCE_TICKS))
            {
                g_motor_cmd_left = 0;
                g_motor_cmd_right = 0;
                Target_speed[0] = 0;
                Target_speed[1] = 0;
                Motor_SetPWM(0, 0);
                corner_wait_start_ms = HAL_GetTick();
                step = 5;
            }
        }
        else if (step == 5)
        {
            g_motor_cmd_left = 0;
            g_motor_cmd_right = 0;
            Target_speed[0] = 0;
            Target_speed[1] = 0;
            Motor_SetPWM(0, 0);

            if (((g_rear_ack_valid != 0U) &&
                 (g_rear_ack_corner_id == corner_id) &&
                 (g_rear_ack_state == NRF24L01_REAR_STATE_DONE)) ||
                ((uint32_t)(HAL_GetTick() - corner_wait_start_ms) >=
                 CORNER_WAIT_TIMEOUT_MS))
            {
                Tracking_Reset();
                corner_lock = HAL_GetTick() + CORNER_LOCK_MS;
                PID_SpeedL.integral = 0;
                PID_SpeedR.integral = 0;
                PID_SpeedL.last_error = 0;
                PID_SpeedR.last_error = 0;
                step = 1;
            }
        }
    }
}

/* USER CODE END 4 */

void Error_Handler(void)
{
  __disable_irq();
  while (1)
  {
  }
}
